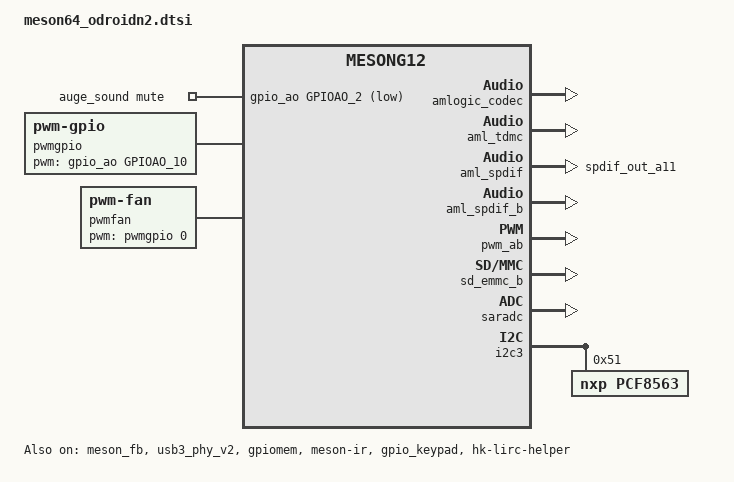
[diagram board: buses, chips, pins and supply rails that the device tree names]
/*
 * arch/arm64/boot/dts/amlogic/meson64_odroidn2.dts
 *
 * Copyright (C) 2018 Hardkernel Co,. Ltd. All rights reserved.
 *
 * This program is free software; you can redistribute it and/or modify
 * it under the terms of the GNU General Public License as published by
 * the Free Software Foundation; either version 2 of the License, or
 * (at your option) any later version.
 *
 * This program is distributed in the hope that it will be useful, but WITHOUT
 * ANY WARRANTY; without even the implied warranty of MERCHANTABILITY or
 * FITNESS FOR A PARTICULAR PURPOSE.  See the GNU General Public License for
 * more details.
 *
 */

#include "mesong12_odroid_common.dtsi"

/ {
	gpiomem {
		compatible = "amlogic, gpiomem";
		reg = <0x0 0xff634000 0x0 0x1000>;
		status = "okay";
	};

	reserved-memory {
		#address-cells = <2>;
		#size-cells = <2>;
		ranges;
		/* global autoconfigured region for contiguous allocations */
		secmon_reserved:linux,secmon {
			compatible = "shared-dma-pool";
			reusable;
			size = <0x0 0x400000>;
			alignment = <0x0 0x400000>;
			alloc-ranges = <0x0 0x05000000 0x0 0x400000>;
			clear-map;
		};

		secos_reserved:linux,secos {
			status = "disable";
			compatible = "amlogic, aml_secos_memory";
			reg = <0x0 0x05300000 0x0 0x2000000>;
			no-map;
		};
		logo_reserved:linux,meson-fb {
			compatible = "shared-dma-pool";
			reusable;
			size = <0x0 0x800000>;
			alignment = <0x0 0x400000>;
			alloc-ranges = <0x0 0x7f800000 0x0 0x800000>;
		};
		ion_cma_reserved:linux,ion-dev {
			compatible = "shared-dma-pool";
			reusable;
			size = <0x0 0x8000000>;
			alignment = <0x0 0x400000>;
		};

		//di_reserved:linux,di {
			//compatible = "amlogic, di-mem";
			/* buffer_size = 3621952(yuv422 8bit) */
			/* 4179008(yuv422 10bit full pack mode) */
			/** 10x3621952=34.6M(0x23) support 8bit **/
			/** 10x4736064=45.2M(0x2e) support 12bit **/
			/** 10x4179008=40M(0x28) support 10bit **/
			//size = <0x0 0x2800000>;
			//no-map;
		//};
		/*di CMA pool */
		di_cma_reserved:linux,di_cma {
			compatible = "shared-dma-pool";
			reusable;
			/* buffer_size = 3621952(yuv422 8bit)
			 *  | 4736064(yuv422 10bit)
			 *  | 4074560(yuv422 10bit full pack mode)
			 * 10x3621952=34.6M(0x23) support 8bit
			 * 10x4736064=45.2M(0x2e) support 12bit
			 * 10x4074560=40M(0x28) support 10bit
			 */
			size = <0x0 0x02800000>;
			alignment = <0x0 0x400000>;
		};
		/*  POST PROCESS MANAGER */
		ppmgr_reserved:linux,ppmgr {
			compatible = "shared-dma-pool";
			size = <0x0 0x0>;
		};
		codec_mm_cma:linux,codec_mm_cma {
			compatible = "shared-dma-pool";
			reusable;
			/* ion_codec_mm max can alloc size 80M*/
			size = <0x0 0x13400000>;
			alignment = <0x0 0x400000>;
			linux,contiguous-region;
			clear-map;
		};
		/* codec shared reserved */
		codec_mm_reserved:linux,codec_mm_reserved {
			compatible = "amlogic, codec-mm-reserved";
			size = <0x0 0x0>;
			alignment = <0x0 0x100000>;
			//no-map;
		};
		/*  vdin0 CMA pool */
		vdin0_cma_reserved:linux,vdin0_cma {
			status = "disable";
			compatible = "shared-dma-pool";
			reusable;
			/* 1920x1080x2x4  =16+4 M */
			size = <0x0 0x04000000>;
			alignment = <0x0 0x400000>;
		};
		/*  vdin1 CMA pool */
		vdin1_cma_reserved:linux,vdin1_cma {
			status = "disable";
			compatible = "shared-dma-pool";
			reusable;
			/* 1920x1080x2x4  =16 M */
			size = <0x0 0x04000000>;
			alignment = <0x0 0x400000>;
		};
	};

	cvbsout {
		compatible = "amlogic, cvbsout-g12b";
		dev_name = "cvbsout";
		status = "okay";
		clocks = <&clkc CLKID_VCLK2_ENCI
			&clkc CLKID_VCLK2_VENCI0
			&clkc CLKID_VCLK2_VENCI1
			&clkc CLKID_DAC_CLK>;
		clock-names = "venci_top_gate",
			"venci_0_gate",
			"venci_1_gate",
			"vdac_clk_gate";
		/* clk path */
		/* 0:vid_pll vid2_clk */
		/* 1:gp0_pll vid2_clk */
		/* 2:vid_pll vid1_clk */
		/* 3:gp0_pll vid1_clk */
		clk_path = <0>;

		/* performance: reg_address, reg_value */
		/* g12b */
		performance = <0x1bf0  0x9
			0x1b56  0x333
			0x1b12  0x8080
			0x1b05  0xfd
			0x1c59  0xf850
			0xffff  0x0>; /* ending flag */
		performance_sarft = <0x1bf0  0x9
			0x1b56  0x333
			0x1b12  0x0
			0x1b05  0x9
			0x1c59  0xfc48
			0xffff  0x0>; /* ending flag */
		vdac_config = <0xa000>;
	};

	deinterlace {
		compatible = "amlogic, deinterlace";
		status = "okay";
		/* 0:use reserved; 1:use cma; 2:use cma as reserved */
		flag_cma = <1>;
		//memory-region = <&di_reserved>;
		memory-region = <&di_cma_reserved>;
		interrupts = <0 46 1
				0 40 1>;
		interrupt-names = "pre_irq", "post_irq";
		clocks = <&clkc CLKID_VPU_CLKB_TMP_COMP>,
			<&clkc CLKID_VPU_CLKB_COMP>;
		clock-names = "vpu_clkb_tmp_composite",
			"vpu_clkb_composite";
		clock-range = <334 667>;
		/* buffer-size = <3621952>;(yuv422 8bit) */
		buffer-size = <4074560>;/*yuv422 fullpack*/
		/* reserve-iomap = "true"; */
		/* if enable nr10bit, set nr10bit-support to 1 */
		post-wr-support = <1>;
		nr10bit-support = <1>;
		nrds-enable = <1>;
		pps-enable = <1>;
	};

	amlvecm {
		compatible = "amlogic, vecm";
		dev_name = "aml_vecm";
		status = "okay";
		gamma_en = <0>;/*1:enabel ;0:disable*/
		wb_en = <0>;/*1:enabel ;0:disable*/
		cm_en = <0>;/*1:enabel ;0:disable*/
	};
	amdolby_vision {
		compatible = "amlogic, dolby_vision_g12a";
		dev_name = "aml_amdolby_vision_driver";
		status = "okay";
		tv_mode = <0>;/*1:enabel ;0:disable*/
	};

	remote {
		status = "disabled";
	};

	meson-ir {
		compatible = "amlogic,meson6-ir";
		/* Multi-format IR controller */
		reg = <0x0 0xff808040 0x0 0x44>;
		interrupts = <0 196 1>;
		pinctrl-names = "default";
		pinctrl-0 = <&remote_pins>;
		pulse-inverted;
		status = "ok";
	};

	/* Audio Related start */
	dummy_codec:dummy{
		#sound-dai-cells = <0>;
		compatible = "linux,spdif-dit";
		status = "okay";
	};
	amlogic_codec:t9015{
		#sound-dai-cells = <0>;
		compatible = "amlogic, aml_codec_T9015";
		reg = <0x0 0xFF632000 0x0 0x2000>;
		is_auge_used = <1>; /* meson or auge chipset used */
		tdmout_index = <2>;
		status = "okay";
	};
	audio_effect:eqdrc{
		/*eq_enable = <1>;*/
		/*drc_enable = <1>;*/
		/*
		 * 0:tdmout_a
		 * 1:tdmout_b
		 * 2:tdmout_c
		 * 3:spdifout
		 * 4:spdifout_b
		 */
		eqdrc_module = <1>;
		/* max 0xf, each bit for one lane, usually one lane */
		lane_mask = <0x1>;
		/* max 0xff, each bit for one channel */
		channel_mask = <0x3>;
	};
	auge_sound {
		compatible = "amlogic, g12a-sound-card";
		aml-audio-card,name = "AML-AUGESOUND";
		/*line-out mute gpio*/
		mute_gpio = <&gpio_ao GPIOAO_2 GPIO_ACTIVE_LOW>;
		/*for audio effect ,eqdrc */
		aml-audio-card,effect = <&audio_effect>;

		/* spdif_b to hdmi, only playback */
		aml-audio-card,dai-link@0 {
			mclk-fs = <128>;
			continuous-clock;
			cpu {
				sound-dai = <&aml_spdif_b>;
				system-clock-frequency = <6144000>;
			};
			codec {
				sound-dai = <&dummy_codec>;
			};
		};

		aml-audio-card,dai-link@1 {
			format = "i2s";// "dsp_a";
			mclk-fs = <256>;
			bitclock-master = <&aml_tdmc>;
			frame-master = <&aml_tdmc>;
			continuous-clock;
			cpu {
				sound-dai = <&aml_tdmc>;
				dai-tdm-slot-tx-mask = <1 1>;
				dai-tdm-slot-rx-mask = <1 1>;
				dai-tdm-slot-num = <2>;
				dai-tdm-slot-width = <32>;
				system-clock-frequency = <12288000>;
			};
			codec {
				sound-dai = <&amlogic_codec>;
			};
		};

		/* spdif_out GPIOA_11 */
		aml-audio-card,dai-link@2 {
			mclk-fs = <128>;
			continuous-clock;
			cpu {
				sound-dai = <&aml_spdif>;
				system-clock-frequency = <6144000>;
			};
			codec {
				sound-dai = <&dummy_codec>;
			};
		};
	};
	audiolocker: locker {
		compatible = "amlogic, audiolocker";
		clocks = <&clkaudio CLKID_AUDIO_LOCKER_OUT
				&clkaudio CLKID_AUDIO_LOCKER_IN
				&clkaudio CLKID_AUDIO_MCLK_D
				&clkaudio CLKID_AUDIO_MCLK_E
				&clkc CLKID_MPLL1
				&clkc CLKID_MPLL2>;
		clock-names = "lock_out", "lock_in", "out_src",
					"in_src", "out_calc", "in_ref";
		interrupts = <GIC_SPI 1 IRQ_TYPE_EDGE_RISING>;
		interrupt-names = "irq";
		frequency = <49000000>; /* pll */
		dividor = <49>; /* locker's parent */
		status = "okay";
	};
	/* Audio Related end */

	gpio_keypad{
		compatible = "amlogic, gpio_keypad";
		status = "okay";
		scan_period = <20>;
		key_num = <1>;
		key_name = "power";
		key_code = <116>;
		reg = <0x0 0xFF800000 0x0 0x400>;
	};

	hk-lirc-helper {
		compatible = "hk-lirc-helper";
		/* Multi-format IR controller */
		reg = <0x0 0xff808040 0x0 0x44>;
		status = "ok";
	};

	pwmgpio:pwmgpio {
		compatible = "pwm-gpio";
		#pwm-cells = <3>;
		pwm-gpios = <&gpio_ao GPIOAO_10 GPIO_ACTIVE_HIGH>;
		status = "okay";
	};

	pwmfan:pwm-fan {
		compatible = "pwm-fan";
		pwms = <&pwmgpio 0 40000 PWM_POLARITY_INVERTED>;
		cooling-min-state = <0>;
		cooling-max-state = <3>;
		#cooling-cells = <2>;
		cooling-levels = <0 120 170 220>;
	};
}; /* end of / */

&soc_thermal {
	trips {
		fan_0: trip-point@4 {
			temperature = <45000>;
			hysteresis = <5000>;
			type = "active";
		};
		fan_1: trip-point@5 {
			temperature = <55000>;
			hysteresis = <5000>;
			type = "active";
		};
		fan_2: trip-point@6 {
			temperature = <60000>;
			hysteresis = <5000>;
			type = "active";
		};
	};
	cooling-maps {
		cpucore_cooling_map {
			trip = <&phot>;
		};
		fan_cooling_map0 {
			trip = <&fan_0>;
			cooling-device = <&pwmfan 0 1>;
		};
		fan_cooling_map1 {
			trip = <&fan_1>;
			cooling-device = <&pwmfan 1 2>;
		};
		fan_cooling_map2 {
			trip = <&fan_2>;
			cooling-device = <&pwmfan 2 3>;
		};
	};
};

&audiobus {
	/* tdmc to internal DAC output, no pinmux */
	aml_tdmc: tdmc {
		compatible = "amlogic, g12a-snd-tdmc";
		#sound-dai-cells = <0>;
		dai-tdm-lane-slot-mask-in = <0 1 0 0>;
		dai-tdm-lane-slot-mask-out = <1 0 0 0>;
		dai-tdm-clk-sel = <2>;
		clocks = <&clkaudio CLKID_AUDIO_MCLK_C
				&clkc CLKID_MPLL2>;
		clock-names = "mclk", "clk_srcpll";
		i2s2hdmi = <0>;
		status = "okay";
	};

	aml_spdif: spdif {
		compatible = "amlogic, g12a-snd-spdif-a";
		#sound-dai-cells = <0>;
		clocks = <&clkc CLKID_MPLL0
				&clkc CLKID_FCLK_DIV4
				&clkaudio CLKID_AUDIO_SPDIFIN
				&clkaudio CLKID_AUDIO_SPDIFOUT
				&clkaudio CLKID_AUDIO_SPDIFIN_CTRL
				&clkaudio CLKID_AUDIO_SPDIFOUT_CTRL>;
		clock-names = "sysclk", "fixed_clk", "gate_spdifin",
				"gate_spdifout", "clk_spdifin", "clk_spdifout";
		interrupts = <GIC_SPI 151 IRQ_TYPE_EDGE_RISING>;
		interrupt-names = "irq_spdifin";
		pinctrl-names = "spdif_pins";
		pinctrl-0 = <&spdifout>;
		status = "okay";
	};
	aml_spdif_b: spdif_b {
		compatible = "amlogic, g12a-snd-spdif-b";
		#sound-dai-cells = <0>;
		clocks = <&clkc CLKID_MPLL0 /*CLKID_HIFI_PLL*/
				&clkaudio CLKID_AUDIO_SPDIFOUTB
				&clkaudio CLKID_AUDIO_SPDIFOUTB_CTRL>;
		clock-names = "sysclk",
				"gate_spdifout", "clk_spdifout";
		status = "okay";
	};
	aml_loopback: loopback {
		compatible = "amlogic, snd-loopback";
		/*
		 * 0: out rate = in data rate;
		 * 1: out rate = loopback data rate;
		 */
		lb_mode = <0>;

		/* datain src
		 * 0: tdmin_a;
		 * 1: tdmin_b;
		 * 2: tdmin_c;
		 * 3: spdifin;
		 * 4: pdmin;
		 */
		datain_src = <4>;
		datain_chnum = <8>;
		datain_chmask = <0x3f>;

		/* tdmin_lb src
		 * 0: tdmoutA
		 * 1: tdmoutB
		 * 2: tdmoutC
		 * 3: PAD_tdminA
		 * 4: PAD_tdminB
		 * 5: PAD_tdminC
		 */
		datalb_src = <2>;
		datalb_chnum = <8>;
		datalb_chmask = <0x3>;

		status = "disabled";
	};

	audioresample: resample {
		compatible = "amlogic, g12a-resample";
		clocks = <&clkc CLKID_MPLL3
				&clkaudio CLKID_AUDIO_MCLK_F
				&clkaudio CLKID_AUDIO_RESAMPLE_CTRL>;
		clock-names = "resample_pll", "resample_src", "resample_clk";
		/*same with toddr_src
		 *	TDMIN_A, 0
		 *	TDMIN_B, 1
		 *	TDMIN_C, 2
		 *	SPDIFIN, 3
		 *	PDMIN,  4
		 *	NONE,
		 *	TDMIN_LB, 6
		 *	LOOPBACK, 7
		 */
		resample_module = <4>;
		status = "disabled";
	};
	aml_pwrdet: pwrdet {
		compatible = "amlogic, g12a-power-detect";

		interrupts = <GIC_SPI 155 IRQ_TYPE_EDGE_RISING>;
		interrupt-names = "pwrdet_irq";

		/* pwrdet source sel
		 * 7: loopback;
		 * 6: tdmin_lb;
		 * 5: reserved;
		 * 4: pdmin;
		 * 3: spdifin;
		 * 2: tdmin_c;
		 * 1: tdmin_b;
		 * 0: tdmin_a;
		 */
		pwrdet_src = <4>;

		hi_th = <0x70000>;
		lo_th = <0x16000>;

		status = "disabled";
	};
}; /* end of audiobus */

&meson_fb {
	status = "okay";
	display_size_default = <1920 1080 1920 2160 32>;
	mem_size = <0x00800000 0x4b80000 0x100000 0x100000 0x800000>;
	logo_addr = "0x7f800000";
	mem_alloc = <1>;
	pxp_mode = <0>; /** 0:normal mode 1:pxp mode */
	4k2k_fb = <1>;
};

&pwm_ab {
	status = "okay";
};

&reboot {
	sd_volsw_gpio = <&gpio_ao GPIOAO_9 GPIO_ACTIVE_HIGH>;
	sd_power_gpio = <&gpio_ao GPIOAO_8 GPIO_ACTIVE_HIGH>;
};

&sd_emmc_b {
	status = "okay";
	sd-uhs-sdr25;
	sd-uhs-sdr50;
	sd-uhs-sdr104;
	max-frequency = <200000000>;
	sd {
		caps = "MMC_CAP_4_BIT_DATA",
			 "MMC_CAP_UHS_SDR25",
			 "MMC_CAP_UHS_SDR50",
			 "MMC_CAP_UHS_SDR104",
			 "MMC_CAP_MMC_HIGHSPEED",
			 "MMC_CAP_SD_HIGHSPEED",
			 "MMC_CAP_ERASE",
			 "MMC_CAP_CMD23";
		vol_switch = <&gpio_ao GPIOAO_9 GPIO_ACTIVE_HIGH>;
		vol_switch_18 = <1>;
		f_min = <400000>;
		f_max = <200000000>;
	};
};

&sd_emmc_a {
	status = "disabled";
	sdio {
		caps = "MMC_CAP_4_BIT_DATA",
			 "MMC_CAP_MMC_HIGHSPEED",
			 "MMC_CAP_SD_HIGHSPEED",
			 "MMC_CAP_NONREMOVABLE",
			 "MMC_CAP_UHS_SDR12",
			 "MMC_CAP_UHS_SDR25",
			 "MMC_CAP_UHS_SDR50",
			 "MMC_CAP_UHS_SDR104",
			 "MMC_PM_KEEP_POWER",
			 "MMC_CAP_SDIO_IRQ";
		f_min = <400000>;
		f_max = <200000000>;
	};
};

&pinctrl_periphs {
	spdifout: spdifout {
		mux {/* GPIOA_11 */
			groups = "spdif_out_a11";
			function = "spdif_out";
		};
	};
}; /* end of pinctrl_periphs */

&pinctrl_aobus {

}; /* end of pinctrl_aobus */


&saradc {
	status = "okay";
};

&i2c2 {
	/* default i2c clock-frequency is 400Khz */
	status = "disabled";
	pinctrl-names = "default","gpio_periphs";
	/* 40 Pin Header : SDA(GPIOX.17->3 Pin), SCL(GPIOX.18->5 Pin) */
	pinctrl-0 = <&i2c2_master_pins1>;
	pinctrl-1 = <&i2c2_to_gpiox>;
	/* default 400k */
	clock-frequency = <400000>;
};

&i2c3 {
	/* default i2c clock-frequency is 100Khz */
	status = "okay";

	pcf8563: rtc@51 {
		compatible = "nxp,pcf8563";
		reg = <0x51>;
	};
};

&spicc0 {
	status = "disabled";

	/*
	40 Pin Header : MOSI(GPIOX.8->19 Pin), MISO(GPIOX.9->21 Pin),
			SPI0_CLK(GPIOX.11->23 Pin)
			SPI_CE0(GPIOX.2->22 Pin), SPI_CE1(GPIOX.10->24 Pin)
	*/
	pinctrl-names = "default","gpio_periphs";
	pinctrl-0 = <&spicc0_pins_x>;
	pinctrl-1 = <&spicc0_to_gpiox>;
	num_chipselect = <2>;

	cs-gpios = <&gpio GPIOX_10 GPIO_ACTIVE_LOW>,
		<&gpio GPIOA_4 GPIO_ACTIVE_LOW>;
};

&spifc {
	status = "disabled";
	spi-nor@0 {
		compatible = "jedec,spi-nor";
		spifc-frequency = <40000000>;
		read-capability = <2>;
		spifc-io-width = <2>;
		cs_gpios = <&gpio BOOT_14 GPIO_ACTIVE_LOW>;
	};
};

&usb3_phy_v2 {
	status = "okay";
	portnum = <1>;
	otg = <1>;
	gpio-vbus-power = "GPIOH_6";
	gpios = <&gpio GPIOH_6 GPIO_ACTIVE_HIGH>;
};
